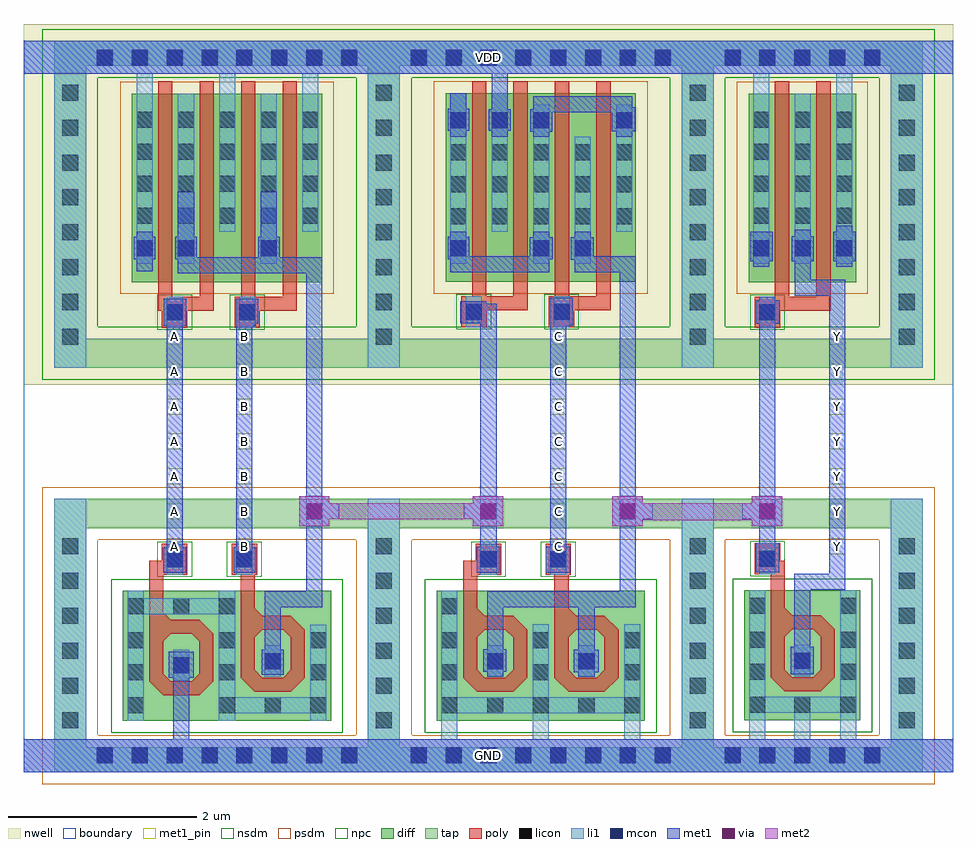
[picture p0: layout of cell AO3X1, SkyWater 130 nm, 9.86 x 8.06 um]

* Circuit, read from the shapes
.subckt AO3X1 A B C GND VDD Y
XM1 n1 A GND GND sky130_fd_pr__nfet_01v8 w=2.6 l=0.1468
XM2 n1 B n2 GND sky130_fd_pr__nfet_01v8 w=2.56 l=0.1473
XM3 GND n2 n3 GND sky130_fd_pr__nfet_01v8 w=2.56 l=0.1455
XM4 GND C n3 GND sky130_fd_pr__nfet_01v8 w=2.56 l=0.147
XM5 GND n3 Y GND sky130_fd_pr__nfet_01v8 w=2.56 l=0.149
XM6 n2 A VDD VDD sky130_fd_pr__pfet_01v8 w=2 l=0.15 m=2
XM7 n2 B VDD VDD sky130_fd_pr__pfet_01v8 w=2 l=0.15 m=2
XM8 VDD n2 n4 VDD sky130_fd_pr__pfet_01v8 w=2 l=0.15 m=2
XM9 n3 C n4 VDD sky130_fd_pr__pfet_01v8 w=2 l=0.15 m=2
XM10 Y n3 VDD VDD sky130_fd_pr__pfet_01v8 w=2 l=0.15 m=2
.ends

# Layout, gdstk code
from math import pi, radians
import gdstk
lib = gdstk.Library(unit=1e-6, precision=1e-09)
def R(c, l, rs):  # rectangles x0, y0, x1, y1
    for r in rs: c.add(gdstk.rectangle(r[:2], r[2:], *l))
def A(c, l, x, y, w, h, nx, ny, dx, dy):  # array of equal rectangles
    R(c, l, [(x+i*dx, y+j*dy, x+i*dx+w, y+j*dy+h) for i in range(nx) for j in range(ny)])
def P(c, l, *ps):  # polygons
    for p in ps: c.add(gdstk.Polygon(p, *l))
nwell = (64, 20)
diff = (65, 20)
tap = (65, 44)
poly = (66, 20)
licon = (66, 44)
li1 = (67, 20)
mcon = (67, 44)
met1_pin = (68, 16)
met1 = (68, 20)
via = (68, 44)
met2 = (69, 20)
nsdm = (93, 44)
psdm = (94, 20)
npc = (95, 20)
boundary = (235, 4)

li1_m1_contact = lib.new_cell('li1_M1_contact')
R(li1_m1_contact, li1, [(-0.085,-0.165,0.085,0.165)])
R(li1_m1_contact, mcon, [(-0.085,-0.085,0.085,0.085)])
R(li1_m1_contact, met1, [(-0.115,-0.115,0.115,-0.085), (-0.265,-0.085,0.145,0.085), (-0.115,0.085,0.115,0.115)])

poly_li1_contact = lib.new_cell('poly_li1_contact')
R(poly_li1_contact, poly, [(-0.16,-0.14,0.17,0.13)])
R(poly_li1_contact, licon, [(-0.08,-0.09,0.09,0.08)])
R(poly_li1_contact, li1, [(-0.16,-0.09,0.17,0.08)])
R(poly_li1_contact, npc, [(-0.18,-0.19,0.19,0.18)])

pmos2 = lib.new_cell('pmos2')
R(pmos2, nwell, [(0.26,-2.18,1.76,0.18)])
R(pmos2, diff, [(0.44,-2,1.58,0)])
R(pmos2, poly, [(0.72,-2.305,1.31,-2.155), (0.72,-2.155,0.87,0.13), (1.16,-2.155,1.31,0.13)])
A(pmos2, licon, 0.49, -1.38, 0.17, 0.17, 3, 4, 0.44, 0.34)
R(pmos2, li1, [(0.49,-1.465,0.66,0.21), (0.93,-1.465,1.1,0), (1.37,-1.465,1.54,0.21)])
R(pmos2, psdm, [(0.315,-2.125,1.705,0.125)])

nmos_top = lib.new_cell('nmos_top')
R(nmos_top, diff, [(0,0,1.23,1.38)])
R(nmos_top, poly, [(0.42,0.31,0.8,0.46), (0.27,0.46,0.42,0.965), (0.8,0.46,0.95,0.965), (0.42,0.965,0.95,1.115), (0.8,1.115,0.95,1.54)])
P(nmos_top, poly, [(0.72,1.115),(0.8,1.115),(0.8,1.195)],
  [(0.27,0.965),(0.42,0.965),(0.42,1.115)],
  [(0.42,0.885),(0.42,0.965),(0.5,0.965)],
  [(0.72,0.965),(0.8,0.965),(0.8,0.885)],
  [(0.42,0.54),(0.42,0.46),(0.5,0.46)],
  [(0.72,0.46),(0.8,0.46),(0.8,0.54)],
  [(0.27,0.46),(0.42,0.46),(0.42,0.31)],
  [(0.8,0.31),(0.8,0.46),(0.95,0.46)])
R(nmos_top, licon, [(0.04,0.08,0.21,0.25), (0.53,0.08,0.7,0.25), (1.01,0.08,1.18,0.25), (0.04,0.43,0.21,0.6), (1.01,0.43,1.18,0.6), (0.53,0.55,0.7,0.72), (0.04,0.77,0.21,0.94), (1.01,0.77,1.18,0.94), (0.04,1.13,0.21,1.3), (1.01,1.13,1.18,1.3)])
R(nmos_top, li1, [(0.04,0,0.21,0.08), (1.01,0,1.18,0.08), (0.04,0.08,1.18,0.25), (0.04,0.25,0.21,1.38), (1.01,0.25,1.18,1.38), (0.53,0.47,0.7,0.805)])
R(nmos_top, nsdm, [(-0.125,-0.125,1.355,1.505)])

diff_ring_side = lib.new_cell('diff_ring_side')
R(diff_ring_side, nwell, [(-0.435,3.93,0.435,7.75)])
R(diff_ring_side, tap, [(-0.17,-0.17,0.17,2.72), (-0.17,4.11,0.17,7.57)])
A(diff_ring_side, licon, -0.085, 0.285, 0.17, 0.17, 1, 6, 0, 0.37)
A(diff_ring_side, licon, -0.085, 4.355, 0.17, 0.17, 1, 8, 0, 0.37)
R(diff_ring_side, li1, [(-0.17,-0.17,0.17,2.72), (-0.17,4.11,0.17,7.57)])
R(diff_ring_side, met1, [(-0.17,-0.17,0.17,0.17), (-0.17,7.23,0.17,7.57)])
R(diff_ring_side, nsdm, [(-0.295,3.985,0.295,7.695)])
R(diff_ring_side, psdm, [(-0.295,-0.295,0.295,2.845)])

invx1_pcell = lib.new_cell('invx1_pcell')
R(invx1_pcell, nwell, [(-0.435,3.93,2.655,7.75)])
A(invx1_pcell, diff, 0.59, 5.295, 0.17, 0.17, 3, 1, 0.44, 0)
R(invx1_pcell, tap, [(0.17,-0.17,2.05,0.085), (0.17,2.41,2.05,2.72), (0.17,4.11,2.05,4.42), (0.17,7.315,2.05,7.57)])
R(invx1_pcell, poly, [(0.775,1.905,0.925,2.065)])
A(invx1_pcell, licon, 0.285, -0.085, 0.17, 0.17, 5, 2, 0.37, 7.4)
A(invx1_pcell, licon, 0.59, 5.295, 0.17, 0.17, 3, 1, 0.44, 0)
A(invx1_pcell, li1, 0.59, 5.215, 0.17, 0.37, 3, 1, 0.44, 0)
R(invx1_pcell, li1, [(-0.17,-0.17,2.33,0.17), (0.545,0.17,0.715,0.42), (1.025,0.17,1.195,0.45), (1.515,0.17,1.685,0.45), (1.025,0.92,1.195,1.09), (0.655,2,0.825,2.17), (0.655,4.615,0.825,4.785), (-0.17,7.23,2.39,7.57)])
A(invx1_pcell, mcon, 0.285, -0.085, 0.17, 0.17, 5, 2, 0.37, 7.4)
A(invx1_pcell, mcon, 0.59, 5.295, 0.17, 0.17, 3, 1, 0.44, 0)
R(invx1_pcell, mcon, [(1.025,0.92,1.195,1.09), (0.655,2,0.825,2.17), (0.655,4.615,0.825,4.785)])
R(invx1_pcell, met1, [(-0.17,-0.17,2.39,0.17), (0.99,0.86,1.23,1.15), (1.025,1.15,1.195,1.755), (1.025,1.755,1.565,1.925), (1.395,1.925,1.565,4.875), (0.615,1.94,0.865,2.25), (0.655,2.25,0.825,4.58), (0.62,4.58,0.87,4.83), (0.655,4.83,0.825,4.865), (1.03,4.875,1.565,5.045), (1.03,5.045,1.2,5.24), (0.59,5.185,0.76,5.24), (1.47,5.185,1.64,5.24), (0.56,5.24,0.795,5.555), (1,5.24,1.23,5.505), (1.44,5.24,1.675,5.555), (1.03,5.505,1.2,5.575), (1.47,5.555,1.64,5.62), (-0.17,7.23,2.39,7.57)])
R(invx1_pcell, nsdm, [(0.045,3.985,2.175,4.545), (0.045,7.19,2.175,7.695)])
R(invx1_pcell, psdm, [(0.045,-0.295,2.175,0.21), (0.045,2.285,2.175,2.845), (0.465,5.17,1.765,5.59)])
invx1_pcell.add(gdstk.Reference(poly_li1_contact, (0.735,2.08), rotation=pi/2))
invx1_pcell.add(gdstk.Reference(poly_li1_contact, (0.745,4.705), rotation=3*pi/2))
invx1_pcell.add(gdstk.Reference(pmos2, (0.1,7.02)))
invx1_pcell.add(gdstk.Reference(nmos_top, (1.725,0.37), rotation=pi, x_reflection=True))
invx1_pcell.add(gdstk.Reference(diff_ring_side, (0,0)))
invx1_pcell.add(gdstk.Reference(diff_ring_side, (2.22,0)))

nmos_top_trim1 = lib.new_cell('nmos_top_trim1')
R(nmos_top_trim1, diff, [(0,0,1.24,1.38)])
R(nmos_top_trim1, poly, [(0.43,0.31,0.81,0.46), (0.28,0.46,0.43,0.965), (0.81,0.46,0.96,0.965), (0.43,0.965,0.96,1.115), (0.81,1.115,0.96,1.545)])
P(nmos_top_trim1, poly, [(0.73,1.115),(0.81,1.115),(0.81,1.195)],
  [(0.28,0.965),(0.43,0.965),(0.43,1.115)],
  [(0.43,0.885),(0.43,0.965),(0.51,0.965)],
  [(0.73,0.965),(0.81,0.965),(0.81,0.885)],
  [(0.43,0.54),(0.43,0.46),(0.51,0.46)],
  [(0.73,0.46),(0.81,0.46),(0.81,0.54)],
  [(0.28,0.46),(0.43,0.46),(0.43,0.31)],
  [(0.81,0.31),(0.81,0.46),(0.96,0.46)])
A(nmos_top_trim1, licon, 0.05, 0.08, 0.17, 0.17, 3, 1, 0.485, 0)
R(nmos_top_trim1, licon, [(0.05,0.43,0.22,0.6), (1.02,0.43,1.19,0.6), (0.535,0.55,0.705,0.72), (0.05,0.77,0.22,0.94), (1.02,0.77,1.19,0.94), (1.02,1.13,1.19,1.3)])
R(nmos_top_trim1, li1, [(0.05,0,0.22,0.08), (1.02,0,1.19,0.08), (0.05,0.08,1.19,0.25), (0.05,0.25,0.22,1.02), (1.02,0.25,1.19,1.38), (0.535,0.47,0.705,0.805)])
R(nmos_top_trim1, nsdm, [(-0.125,-0.125,1.365,1.505)])

pmos2_1 = lib.new_cell('pmos2_1')
R(pmos2_1, nwell, [(0.26,-2.175,1.76,0.185)])
R(pmos2_1, diff, [(0.44,-1.995,1.58,0.005)])
R(pmos2_1, poly, [(0.72,-2.3,1.31,-2.15), (0.72,-2.15,0.87,0.135), (1.16,-2.15,1.31,0.135)])
A(pmos2_1, licon, 0.49, -1.385, 0.17, 0.17, 3, 3, 0.44, 0.34)
A(pmos2_1, li1, 0.49, -1.465, 0.17, 1.01, 3, 1, 0.44, 0)
R(pmos2_1, psdm, [(0.315,-2.12,1.705,0.13)])

nmos_top_trim2 = lib.new_cell('nmos_top_trim2')
R(nmos_top_trim2, diff, [(0,0,1.24,1.38)])
R(nmos_top_trim2, poly, [(0.43,0.31,0.81,0.46), (0.28,0.46,0.43,0.89), (0.81,0.46,0.96,0.89), (0.28,0.89,0.435,0.965), (0.805,0.89,0.96,0.965), (0.43,0.965,0.96,1.115), (0.81,1.115,0.96,1.545)])
P(nmos_top_trim2, poly, [(0.73,1.115),(0.81,1.115),(0.81,1.195)],
  [(0.28,0.965),(0.43,0.965),(0.43,1.115)],
  [(0.435,0.89),(0.435,0.965),(0.51,0.965)],
  [(0.73,0.965),(0.805,0.965),(0.805,0.89)],
  [(0.43,0.54),(0.43,0.46),(0.51,0.46)],
  [(0.73,0.46),(0.81,0.46),(0.81,0.54)],
  [(0.28,0.46),(0.43,0.46),(0.43,0.31)],
  [(0.81,0.31),(0.81,0.46),(0.96,0.46)])
A(nmos_top_trim2, licon, 0.05, 0.08, 0.17, 0.17, 3, 1, 0.485, 0)
R(nmos_top_trim2, licon, [(0.05,0.43,0.22,0.6), (1.02,0.43,1.19,0.6), (0.535,0.55,0.705,0.72), (0.05,0.77,0.22,0.94), (1.02,0.77,1.19,0.94)])
R(nmos_top_trim2, li1, [(0.05,0,0.22,0.08), (1.02,0,1.19,0.08), (0.05,0.08,1.19,0.25), (0.05,0.25,0.22,1.025), (1.02,0.25,1.19,1.025), (0.535,0.47,0.705,0.805)])
R(nmos_top_trim2, nsdm, [(-0.125,-0.125,1.365,1.505)])

nor2x1_pcell = lib.new_cell('nor2x1_pcell')
R(nor2x1_pcell, nwell, [(0.435,3.93,2.895,7.75)])
A(nor2x1_pcell, diff, 0.705, 6.655, 0.17, 0.17, 3, 1, 0.44, 0)
R(nor2x1_pcell, diff, [(0.705,5.215,0.875,5.465), (1.585,5.215,1.755,5.25), (2.025,5.215,2.195,5.25), (1.585,5.295,1.755,5.465), (2.025,5.295,2.195,5.465), (2.465,6.655,2.635,6.825)])
R(nor2x1_pcell, tap, [(0.17,-0.17,3.16,0.085), (0.17,2.41,3.16,2.72), (0.17,4.11,3.16,4.42), (0.17,7.315,3.16,7.57)])
R(nor2x1_pcell, poly, [(0.84,1.875,0.99,2.065), (1.81,1.91,1.96,1.915)])
A(nor2x1_pcell, licon, 0.285, -0.085, 0.17, 0.17, 8, 2, 0.37, 7.4)
A(nor2x1_pcell, licon, 0.705, 6.655, 0.17, 0.17, 3, 1, 0.44, 0)
R(nor2x1_pcell, licon, [(0.705,5.295,0.875,5.465), (1.585,5.295,1.755,5.465), (2.025,5.295,2.195,5.465), (2.465,6.655,2.635,6.825)])
R(nor2x1_pcell, li1, [(0.165,-0.17,3.285,0.17), (0.61,0.17,0.78,0.785), (1.58,0.17,1.75,0.445), (2.55,0.17,2.72,0.445), (1.095,0.915,1.265,1.085), (2.065,0.915,2.235,1.085), (1.025,1.995,1.195,2.165), (1.765,1.995,1.935,2.165), (0.87,4.62,1.04,4.79), (1.8,4.62,1.97,4.79), (0.705,5.215,0.875,5.975), (1.585,5.215,1.755,5.975), (2.025,5.215,2.195,5.975), (1.145,6.145,1.315,7.025), (1.585,6.145,1.755,6.905), (2.465,6.145,2.635,6.905), (0.705,6.56,0.875,7.025), (-0.17,7.23,3.335,7.57)])
A(nor2x1_pcell, mcon, 0.285, -0.085, 0.17, 0.17, 8, 2, 0.37, 7.4)
A(nor2x1_pcell, mcon, 0.705, 6.655, 0.17, 0.17, 3, 1, 0.44, 0)
R(nor2x1_pcell, mcon, [(1.095,0.915,1.265,1.085), (2.065,0.915,2.235,1.085), (1.025,1.995,1.195,2.165), (1.765,1.995,1.935,2.165), (0.87,4.62,1.04,4.79), (1.8,4.62,1.97,4.79), (0.705,5.295,0.875,5.465), (1.585,5.295,1.755,5.465), (2.025,5.295,2.195,5.465), (2.465,6.655,2.635,6.825)])
R(nor2x1_pcell, met1, [(0.17,-0.17,3.16,0.17), (1.095,0.835,1.265,0.885), (2.065,0.835,2.235,0.88), (2.015,0.88,2.28,1.12), (1.055,0.885,1.3,1.125), (2.065,1.12,2.235,1.57), (1.095,1.125,1.265,1.57), (1.095,1.57,2.675,1.74), (2.505,1.74,2.675,5.125), (0.985,1.935,1.23,2.215), (1.72,1.935,1.975,2.215), (1.025,2.215,1.195,4.585), (1.765,2.215,1.935,4.56), (1.765,4.56,2.005,4.855), (0.81,4.585,1.195,4.79), (0.81,4.79,1.085,4.82), (0.705,5.125,1.755,5.265), (2.025,5.125,2.675,5.26), (1.985,5.26,2.675,5.295), (0.675,5.265,1.79,5.295), (0.675,5.295,0.905,5.5), (1.55,5.295,1.79,5.495), (1.985,5.295,2.225,5.495), (1.585,5.495,1.755,5.555), (2.025,5.495,2.195,5.555), (0.705,5.5,0.875,5.555), (0.705,6.565,0.875,6.625), (1.145,6.565,1.315,6.625), (1.585,6.565,1.755,6.615), (2.465,6.565,2.635,6.62), (1.555,6.615,1.785,6.825), (2.42,6.62,2.665,6.825), (0.675,6.625,0.905,6.86), (1.115,6.625,1.345,6.855), (1.555,6.825,2.665,6.855), (1.145,6.855,1.315,7.23), (1.585,6.855,2.665,6.875), (0.705,6.86,0.875,7.025), (1.585,6.875,2.635,6.995), (0.17,7.23,3.16,7.57)])
R(nor2x1_pcell, nsdm, [(0.045,3.985,3.285,4.545), (0.045,7.19,3.285,7.695)])
R(nor2x1_pcell, psdm, [(0.045,-0.295,3.285,0.21), (0.045,2.285,3.285,2.845), (0.58,5.09,1,5.59), (1.46,5.09,2.32,5.59), (0.58,6.53,1.88,6.95), (2.34,6.53,2.76,6.95)])
nor2x1_pcell.add(gdstk.Reference(diff_ring_side, (0,0)))
nor2x1_pcell.add(gdstk.Reference(nmos_top_trim1, (1.8,0.365), rotation=pi, x_reflection=True))
nor2x1_pcell.add(gdstk.Reference(pmos2_1, (0.215,7.02)))
nor2x1_pcell.add(gdstk.Reference(poly_li1_contact, (0.96,4.71), rotation=3*pi/2))
nor2x1_pcell.add(gdstk.Reference(poly_li1_contact, (1.115,2.085), rotation=3*pi/2))
nor2x1_pcell.add(gdstk.Reference(nmos_top_trim2, (2.77,0.365), rotation=pi, x_reflection=True))
nor2x1_pcell.add(gdstk.Reference(pmos2_1, (1.095,7.02)))
nor2x1_pcell.add(gdstk.Reference(poly_li1_contact, (1.845,2.075), rotation=pi/2))
nor2x1_pcell.add(gdstk.Reference(poly_li1_contact, (1.89,4.71), rotation=3*pi/2))
nor2x1_pcell.add(gdstk.Reference(diff_ring_side, (3.33,0)))

nmos_bottom = lib.new_cell('nmos_bottom')
R(nmos_bottom, diff, [(0,0,1.24,1.38)])
R(nmos_bottom, poly, [(0.43,0.27,0.81,0.42), (0.28,0.42,0.43,0.925), (0.81,0.42,0.96,0.925), (0.43,0.925,0.96,1.075), (0.81,1.075,0.96,1.51)])
P(nmos_bottom, poly, [(0.73,1.075),(0.81,1.075),(0.81,1.155)],
  [(0.28,0.925),(0.43,0.925),(0.43,1.075)],
  [(0.43,0.845),(0.43,0.925),(0.51,0.925)],
  [(0.73,0.925),(0.81,0.925),(0.81,0.845)],
  [(0.43,0.5),(0.43,0.42),(0.51,0.42)],
  [(0.73,0.42),(0.81,0.42),(0.81,0.5)],
  [(0.28,0.42),(0.43,0.42),(0.43,0.27)],
  [(0.81,0.27),(0.81,0.42),(0.96,0.42)])
A(nmos_bottom, licon, 0.05, 1.13, 0.17, 0.17, 3, 1, 0.485, 0)
R(nmos_bottom, licon, [(0.05,0.08,0.22,0.25), (1.02,0.08,1.19,0.25), (0.05,0.43,0.22,0.6), (1.02,0.43,1.19,0.6), (0.535,0.505,0.705,0.675), (0.05,0.77,0.22,0.94), (1.02,0.77,1.19,0.94)])
R(nmos_bottom, li1, [(0.05,0,0.22,1.13), (1.02,0,1.19,1.13), (0.535,0.425,0.705,0.755), (0.05,1.13,1.19,1.3), (0.05,1.3,0.22,1.38), (1.02,1.3,1.19,1.38)])
R(nmos_bottom, nsdm, [(-0.125,-0.125,1.365,1.505)])

nand2x1_pcell = lib.new_cell('nand2x1_pcell')
R(nand2x1_pcell, nwell, [(0.435,3.93,2.895,7.75)])
R(nand2x1_pcell, diff, [(1.115,5.265,1.345,5.5), (1.995,5.265,2.225,5.5), (0.705,5.295,0.875,5.465)])
R(nand2x1_pcell, tap, [(0.17,-0.17,3.16,-0.15), (0.155,-0.15,3.175,0.085), (0.155,2.4,0.17,2.41), (3.16,2.4,3.175,2.41), (0.155,2.41,3.175,2.71), (0.17,2.71,3.16,2.72), (0.17,4.11,3.16,4.42), (0.17,7.315,3.16,7.57)])
R(nand2x1_pcell, poly, [(0.84,1.875,0.99,2.065), (1.81,1.91,1.96,1.915)])
A(nand2x1_pcell, licon, 0.285, -0.085, 0.17, 0.17, 8, 2, 0.37, 7.4)
R(nand2x1_pcell, licon, [(0.705,5.295,0.875,5.465), (1.145,5.295,1.315,5.465), (2.025,5.295,2.195,5.465)])
R(nand2x1_pcell, li1, [(0.165,-0.17,3.295,0.17), (1.095,0.87,1.265,1.04), (2.065,0.915,2.235,1.085), (1.025,1.995,1.195,2.165), (1.765,1.995,1.935,2.165), (1.025,4.615,1.195,4.785), (1.795,4.615,1.965,4.785), (0.705,5.215,0.875,5.61), (1.145,5.215,1.315,5.61), (2.025,5.215,2.195,5.61), (-0.17,7.23,3.17,7.57)])
A(nand2x1_pcell, mcon, 0.285, -0.085, 0.17, 0.17, 8, 2, 0.37, 7.4)
R(nand2x1_pcell, mcon, [(1.095,0.87,1.265,1.04), (2.065,0.915,2.235,1.085), (1.025,1.995,1.195,2.165), (1.765,1.995,1.935,2.165), (1.025,4.615,1.195,4.785), (1.795,4.615,1.965,4.785), (0.705,5.295,0.875,5.465), (1.145,5.295,1.315,5.465), (2.025,5.295,2.195,5.465)])
R(nand2x1_pcell, met1, [(-0.17,-0.17,3.5,0.17), (1.095,0.17,1.265,0.825), (1.045,0.825,1.31,1.1), (2.035,0.855,2.265,1.12), (2.065,1.12,2.235,1.57), (2.065,1.57,2.675,1.74), (2.505,1.74,2.675,5.115), (0.99,1.935,1.23,2.205), (1.735,1.935,1.97,2.205), (1.025,2.205,1.195,4.56), (1.765,2.205,1.935,4.555), (1.765,4.555,1.97,4.58), (0.995,4.56,1.23,4.845), (1.765,4.58,1.995,4.845), (1.145,5.115,2.675,5.265), (0.705,5.135,0.875,5.265), (0.675,5.265,0.905,5.5), (1.115,5.265,2.675,5.285), (1.115,5.285,1.345,5.5), (1.995,5.285,2.225,5.5), (0.705,5.5,0.875,5.555), (1.145,5.5,1.315,5.98), (2.025,5.5,2.195,5.98), (-0.17,7.23,3.5,7.57)])
R(nand2x1_pcell, nsdm, [(0.045,3.985,3.285,4.545), (0.045,7.19,3.285,7.695)])
R(nand2x1_pcell, psdm, [(0.045,-0.295,3.285,-0.275), (0.03,-0.275,3.3,0.21), (0.03,2.275,0.295,2.285), (3.035,2.275,3.3,2.285), (0.03,2.285,3.3,2.835), (0.045,2.835,3.285,2.845), (0.99,5.14,1.47,5.17), (1.87,5.14,2.35,5.625), (0.58,5.17,1.47,5.59), (0.99,5.59,1.47,5.625)])
nand2x1_pcell.add(gdstk.Reference(diff_ring_side, (0,0)))
nand2x1_pcell.add(gdstk.Reference(nmos_bottom, (1.8,0.365), rotation=pi, x_reflection=True))
nand2x1_pcell.add(gdstk.Reference(pmos2, (0.215,7.02)))
nand2x1_pcell.add(gdstk.Reference(poly_li1_contact, (1.115,4.705), rotation=3*pi/2))
nand2x1_pcell.add(gdstk.Reference(poly_li1_contact, (1.115,2.085), rotation=3*pi/2))
nand2x1_pcell.add(gdstk.Reference(nmos_top_trim1, (2.77,0.365), rotation=pi, x_reflection=True))
nand2x1_pcell.add(gdstk.Reference(pmos2, (1.095,7.02)))
nand2x1_pcell.add(gdstk.Reference(poly_li1_contact, (1.845,2.075), rotation=pi/2))
nand2x1_pcell.add(gdstk.Reference(poly_li1_contact, (1.885,4.705), rotation=3*pi/2))
nand2x1_pcell.add(gdstk.Reference(diff_ring_side, (3.33,0)))

aoi3x1_pcell = lib.new_cell('aoi3x1_pcell')
R(aoi3x1_pcell, met1, [(2.43,2.43,2.75,2.75), (4.275,2.43,4.595,2.75)])
R(aoi3x1_pcell, via, [(2.515,2.515,2.665,2.665), (4.36,2.515,4.51,2.665)])
R(aoi3x1_pcell, met2, [(2.43,2.43,2.75,2.505), (4.275,2.43,4.595,2.505), (2.43,2.505,4.595,2.675), (2.43,2.675,2.75,2.75), (4.275,2.675,4.595,2.75)])
aoi3x1_pcell.add(gdstk.Reference(nor2x1_pcell, (3.33,0)))
aoi3x1_pcell.add(gdstk.Reference(nand2x1_pcell, (0,0)))
aoi3x1_pcell.add(gdstk.Reference(li1_m1_contact, (4.44,2.59)))
aoi3x1_pcell.add(gdstk.Reference(li1_m1_contact, (2.59,2.59), rotation=pi))

ao3x1_pcell = lib.new_cell('ao3x1_pcell')
R(ao3x1_pcell, met1, [(5.755,2.43,6.075,2.75), (7.235,2.43,7.555,2.75)])
R(ao3x1_pcell, via, [(5.84,2.515,5.99,2.665), (7.32,2.515,7.47,2.665)])
R(ao3x1_pcell, met2, [(5.755,2.43,6.075,2.495), (7.235,2.43,7.555,2.495), (5.755,2.495,7.555,2.675), (5.755,2.675,6.075,2.75), (7.235,2.675,7.555,2.75)])
ao3x1_pcell.add(gdstk.Reference(li1_m1_contact, (7.4,2.59)))
ao3x1_pcell.add(gdstk.Reference(li1_m1_contact, (5.92,2.59), rotation=pi))
ao3x1_pcell.add(gdstk.Reference(invx1_pcell, (6.66,0)))
ao3x1_pcell.add(gdstk.Reference(aoi3x1_pcell, (0,0)))

ao3x1 = lib.new_cell('AO3X1')
R(ao3x1, nwell, [(0,4.11,0.055,7.93), (9.805,4.11,9.86,7.41), (9.54,7.41,9.86,7.76), (0.775,7.495,0.945,7.665), (9.805,7.76,9.86,7.93), (0,7.93,9.86,7.94)])
R(ao3x1, tap, [(0.32,0,9.54,0.03), (0.4,7.73,6.93,7.75), (0.32,7.75,9.54,7.76)])
R(ao3x1, li1, [(0,0,9.86,0.35), (0,7.41,9.86,7.76)])
A(ao3x1, met1_pin, 1.515, 2.315, 0.17, 0.17, 1, 7, 0, 0.37)
A(ao3x1, met1_pin, 2.255, 2.315, 0.17, 0.17, 1, 7, 0, 0.37)
A(ao3x1, met1_pin, 5.585, 2.315, 0.17, 0.17, 1, 7, 0, 0.37)
A(ao3x1, met1_pin, 8.545, 2.315, 0.17, 0.17, 1, 7, 0, 0.37)
R(ao3x1, met1_pin, [(0,0,9.86,0.35), (0,7.41,9.86,7.76)])
A(ao3x1, met1, 1.515, 2.315, 0.17, 0.17, 1, 7, 0, 0.37)
A(ao3x1, met1, 2.255, 2.315, 0.17, 0.17, 1, 7, 0, 0.37)
A(ao3x1, met1, 5.585, 2.315, 0.17, 0.17, 1, 7, 0, 0.37)
A(ao3x1, met1, 8.545, 2.315, 0.17, 0.17, 1, 7, 0, 0.37)
R(ao3x1, met1, [(0,0,9.86,0.35), (0,7.41,9.86,7.76)])
R(ao3x1, nsdm, [(0.275,7.605,7.055,7.625), (0.195,7.625,9.665,7.885)])
R(ao3x1, psdm, [(0.195,-0.125,9.665,0.155)])
R(ao3x1, boundary, [(0,0,9.86,7.76)])
ao3x1.add(gdstk.Reference(ao3x1_pcell, (0.49,0.18)))
ao3x1.add(gdstk.Label('Y', (8.63,4.62), layer=68, texttype=5))
ao3x1.add(gdstk.Label('Y', (8.63,2.4), layer=68, texttype=5))
ao3x1.add(gdstk.Label('Y', (8.63,2.77), layer=68, texttype=5))
ao3x1.add(gdstk.Label('Y', (8.63,3.14), layer=68, texttype=5))
ao3x1.add(gdstk.Label('Y', (8.63,3.51), layer=68, texttype=5))
ao3x1.add(gdstk.Label('Y', (8.63,3.88), layer=68, texttype=5))
ao3x1.add(gdstk.Label('Y', (8.63,4.25), layer=68, texttype=5))
ao3x1.add(gdstk.Label('A', (1.6,4.62), layer=68, texttype=5))
ao3x1.add(gdstk.Label('A', (1.6,4.25), layer=68, texttype=5))
ao3x1.add(gdstk.Label('A', (1.6,3.88), layer=68, texttype=5))
ao3x1.add(gdstk.Label('A', (1.6,3.51), layer=68, texttype=5))
ao3x1.add(gdstk.Label('A', (1.6,2.4), layer=68, texttype=5))
ao3x1.add(gdstk.Label('A', (1.6,2.77), layer=68, texttype=5))
ao3x1.add(gdstk.Label('A', (1.6,3.14), layer=68, texttype=5))
ao3x1.add(gdstk.Label('B', (2.34,4.62), layer=68, texttype=5))
ao3x1.add(gdstk.Label('B', (2.34,4.25), layer=68, texttype=5))
ao3x1.add(gdstk.Label('B', (2.34,3.88), layer=68, texttype=5))
ao3x1.add(gdstk.Label('B', (2.34,2.4), layer=68, texttype=5))
ao3x1.add(gdstk.Label('B', (2.34,2.77), layer=68, texttype=5))
ao3x1.add(gdstk.Label('B', (2.34,3.14), layer=68, texttype=5))
ao3x1.add(gdstk.Label('B', (2.34,3.51), layer=68, texttype=5))
ao3x1.add(gdstk.Label('C', (5.67,4.62), layer=68, texttype=5))
ao3x1.add(gdstk.Label('C', (5.67,4.25), layer=68, texttype=5))
ao3x1.add(gdstk.Label('C', (5.67,2.4), layer=68, texttype=5))
ao3x1.add(gdstk.Label('C', (5.67,2.77), layer=68, texttype=5))
ao3x1.add(gdstk.Label('C', (5.67,3.14), layer=68, texttype=5))
ao3x1.add(gdstk.Label('C', (5.67,3.51), layer=68, texttype=5))
ao3x1.add(gdstk.Label('C', (5.67,3.88), layer=68, texttype=5))
ao3x1.add(gdstk.Label('VDD', (4.93,7.585), layer=68, texttype=5))
ao3x1.add(gdstk.Label('GND', (4.93,0.175), layer=68, texttype=5))

lib.write_gds('AO3X1.gds')
